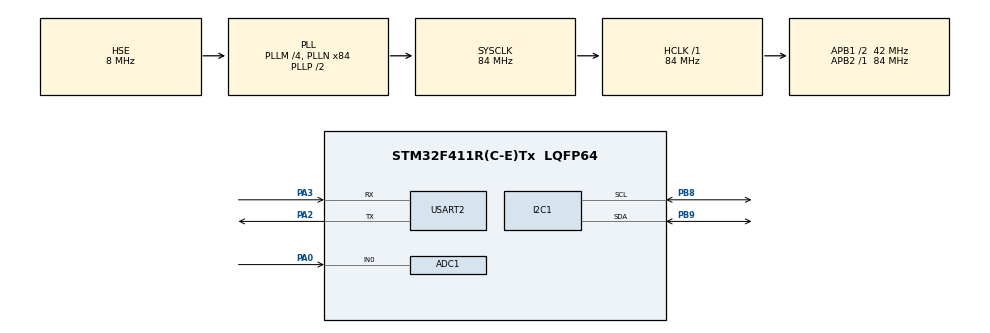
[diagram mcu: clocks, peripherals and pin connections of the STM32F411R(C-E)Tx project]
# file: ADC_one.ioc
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ADC1.Channel-1\#ChannelRegularConversion=ADC_CHANNEL_0
ADC1.NbrOfConversionFlag=1
ADC1.Rank-1\#ChannelRegularConversion=1
ADC1.SamplingTime-1\#ChannelRegularConversion=ADC_SAMPLETIME_3CYCLES
ADC1.master=1
Mcu.Family=STM32F4
Mcu.Name=STM32F411R(C-E)Tx
Mcu.Package=LQFP64
NVIC.PriorityGroup=NVIC_PRIORITYGROUP_4
PA0-WKUP.Signal=ADCx_IN0
PA13.Mode=Serial_Wire
PA13.Signal=SYS_JTMS-SWDIO
PA14.Mode=Serial_Wire
PA14.Signal=SYS_JTCK-SWCLK
PA2.Mode=Asynchronous
PA2.Signal=USART2_TX
PA3.Mode=Asynchronous
PA3.Signal=USART2_RX
PB8.Mode=I2C
PB8.Signal=I2C1_SCL
PB9.Mode=I2C
PB9.Signal=I2C1_SDA
PH0\ -\ OSC_IN.Mode=HSE-External-Oscillator
PH0\ -\ OSC_IN.Signal=RCC_OSC_IN
PH1\ -\ OSC_OUT.Mode=HSE-External-Oscillator
PH1\ -\ OSC_OUT.Signal=RCC_OSC_OUT
ProjectManager.HeapSize=0x200
ProjectManager.StackSize=0x400
ProjectManager.TargetToolchain=STM32CubeIDE
RCC.48MHZClocksFreq_Value=42000000
RCC.AHBFreq_Value=84000000
RCC.APB1CLKDivider=RCC_HCLK_DIV2
RCC.APB1Freq_Value=42000000
RCC.APB1TimFreq_Value=84000000
RCC.APB2Freq_Value=84000000
RCC.APB2TimFreq_Value=84000000
RCC.CortexFreq_Value=84000000
RCC.HCLKFreq_Value=84000000
RCC.HSE_VALUE=8000000
RCC.HSI_VALUE=16000000
RCC.LSE_VALUE=32768
RCC.PLLM=4
RCC.PLLN=84
RCC.PLLSourceVirtual=RCC_PLLSOURCE_HSE
RCC.SYSCLKFreq_VALUE=84000000
RCC.SYSCLKSource=RCC_SYSCLKSOURCE_PLLCLK
RCC.VCOOutputFreq_Value=168000000
SH.ADCx_IN0.0=ADC1_IN0,IN0
USART2.VirtualMode=VM_ASYNC
board=custom

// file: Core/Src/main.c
/* USER CODE BEGIN Header */
/**
  ******************************************************************************
  * @file           : main.c
  * @brief          : Main program body
  ******************************************************************************
  * @attention
  *
  * Copyright (c) 2024 STMicroelectronics.
  * All rights reserved.
  *
  * This software is licensed under terms that can be found in the LICENSE file
  * in the root directory of this software component.
  * If no LICENSE file comes with this software, it is provided AS-IS.
  *
  ******************************************************************************
  */
/* USER CODE END Header */
#include "main.h"

/* USER CODE BEGIN Includes */
#include "string.h"
#include "stdio.h"
#include "i2c-lcd.h"

char firstMes[] = "Voltage is";
char volt[15]={0};
/* USER CODE END Includes */

ADC_HandleTypeDef hadc1;

I2C_HandleTypeDef hi2c1;

UART_HandleTypeDef huart2;

void SystemClock_Config(void);
static void MX_GPIO_Init(void);
static void MX_ADC1_Init(void);
static void MX_USART2_UART_Init(void);
static void MX_I2C1_Init(void);
/* USER CODE BEGIN PFP */

void uprintf(char *str)
{
	HAL_UART_Transmit(&huart2, (uint8_t*) str, strlen(str), 100);
}
/* USER CODE END PFP */

/* USER CODE BEGIN 0 */
int row = 0;
int col = 0;

/* USER CODE END 0 */

int main(void)
{

  /* MCU Configuration--------------------------------------------------------*/

  /* Reset of all peripherals, Initializes the Flash interface and the Systick. */
  HAL_Init();

  /* Configure the system clock */
  SystemClock_Config();

  /* Initialize all configured peripherals */
  MX_GPIO_Init();
  MX_ADC1_Init();
  MX_USART2_UART_Init();
  MX_I2C1_Init();
  /* USER CODE BEGIN 2 */
  uint16_t result = 0;
  float V = 0;
  uint16_t measurement = 0;
  lcd_init();
  /* USER CODE END 2 */

  /* Infinite loop */
  /* USER CODE BEGIN WHILE */
  while (1)
  {
	  HAL_ADC_Start(&hadc1);
	  HAL_ADC_PollForConversion(&hadc1, 100);
	  result = HAL_ADC_GetValue(&hadc1);
	  HAL_ADC_Stop(&hadc1);
	  V = ((float)result / (float)4095) * 3.3;
	  measurement++;

	  sprintf(volt, "%1.2f", V);
	  //strcpy(volt, buffer);
	  lcd_put_cur(0,0);
	  lcd_send_string(firstMes);
	  lcd_put_cur(1,0);
	  lcd_send_string(volt);

	  HAL_Delay(500);
    /* USER CODE END WHILE */

  }
}

void SystemClock_Config(void)
{
  RCC_OscInitTypeDef RCC_OscInitStruct = {0};
  RCC_ClkInitTypeDef RCC_ClkInitStruct = {0};

  /** Configure the main internal regulator output voltage
  */
  __HAL_RCC_PWR_CLK_ENABLE();
  __HAL_PWR_VOLTAGESCALING_CONFIG(PWR_REGULATOR_VOLTAGE_SCALE1);

  /** Initializes the RCC Oscillators according to the specified parameters
  * in the RCC_OscInitTypeDef structure.
  */
  RCC_OscInitStruct.OscillatorType = RCC_OSCILLATORTYPE_HSE;
  RCC_OscInitStruct.HSEState = RCC_HSE_ON;
  RCC_OscInitStruct.PLL.PLLState = RCC_PLL_ON;
  RCC_OscInitStruct.PLL.PLLSource = RCC_PLLSOURCE_HSE;
  RCC_OscInitStruct.PLL.PLLM = 4;
  RCC_OscInitStruct.PLL.PLLN = 84;
  RCC_OscInitStruct.PLL.PLLP = RCC_PLLP_DIV2;
  RCC_OscInitStruct.PLL.PLLQ = 4;
  if (HAL_RCC_OscConfig(&RCC_OscInitStruct) != HAL_OK)
  {
    Error_Handler();
  }

  /** Initializes the CPU, AHB and APB buses clocks
  */
  RCC_ClkInitStruct.ClockType = RCC_CLOCKTYPE_HCLK|RCC_CLOCKTYPE_SYSCLK
                              |RCC_CLOCKTYPE_PCLK1|RCC_CLOCKTYPE_PCLK2;
  RCC_ClkInitStruct.SYSCLKSource = RCC_SYSCLKSOURCE_PLLCLK;
  RCC_ClkInitStruct.AHBCLKDivider = RCC_SYSCLK_DIV1;
  RCC_ClkInitStruct.APB1CLKDivider = RCC_HCLK_DIV2;
  RCC_ClkInitStruct.APB2CLKDivider = RCC_HCLK_DIV1;

  if (HAL_RCC_ClockConfig(&RCC_ClkInitStruct, FLASH_LATENCY_2) != HAL_OK)
  {
    Error_Handler();
  }
}

static void MX_ADC1_Init(void)
{

  ADC_ChannelConfTypeDef sConfig = {0};

  /** Configure the global features of the ADC (Clock, Resolution, Data Alignment and number of conversion)
  */
  hadc1.Instance = ADC1;
  hadc1.Init.ClockPrescaler = ADC_CLOCK_SYNC_PCLK_DIV4;
  hadc1.Init.Resolution = ADC_RESOLUTION_12B;
  hadc1.Init.ScanConvMode = DISABLE;
  hadc1.Init.ContinuousConvMode = DISABLE;
  hadc1.Init.DiscontinuousConvMode = DISABLE;
  hadc1.Init.ExternalTrigConvEdge = ADC_EXTERNALTRIGCONVEDGE_NONE;
  hadc1.Init.ExternalTrigConv = ADC_SOFTWARE_START;
  hadc1.Init.DataAlign = ADC_DATAALIGN_RIGHT;
  hadc1.Init.NbrOfConversion = 1;
  hadc1.Init.DMAContinuousRequests = DISABLE;
  hadc1.Init.EOCSelection = ADC_EOC_SINGLE_CONV;
  if (HAL_ADC_Init(&hadc1) != HAL_OK)
  {
    Error_Handler();
  }

  /** Configure for the selected ADC regular channel its corresponding rank in the sequencer and its sample time.
  */
  sConfig.Channel = ADC_CHANNEL_0;
  sConfig.Rank = 1;
  sConfig.SamplingTime = ADC_SAMPLETIME_3CYCLES;
  if (HAL_ADC_ConfigChannel(&hadc1, &sConfig) != HAL_OK)
  {
    Error_Handler();
  }

}

static void MX_I2C1_Init(void)
{

  hi2c1.Instance = I2C1;
  hi2c1.Init.ClockSpeed = 100000;
  hi2c1.Init.DutyCycle = I2C_DUTYCYCLE_2;
  hi2c1.Init.OwnAddress1 = 0;
  hi2c1.Init.AddressingMode = I2C_ADDRESSINGMODE_7BIT;
  hi2c1.Init.DualAddressMode = I2C_DUALADDRESS_DISABLE;
  hi2c1.Init.OwnAddress2 = 0;
  hi2c1.Init.GeneralCallMode = I2C_GENERALCALL_DISABLE;
  hi2c1.Init.NoStretchMode = I2C_NOSTRETCH_DISABLE;
  if (HAL_I2C_Init(&hi2c1) != HAL_OK)
  {
    Error_Handler();
  }

}

static void MX_USART2_UART_Init(void)
{

  huart2.Instance = USART2;
  huart2.Init.BaudRate = 115200;
  huart2.Init.WordLength = UART_WORDLENGTH_8B;
  huart2.Init.StopBits = UART_STOPBITS_1;
  huart2.Init.Parity = UART_PARITY_NONE;
  huart2.Init.Mode = UART_MODE_TX_RX;
  huart2.Init.HwFlowCtl = UART_HWCONTROL_NONE;
  huart2.Init.OverSampling = UART_OVERSAMPLING_16;
  if (HAL_UART_Init(&huart2) != HAL_OK)
  {
    Error_Handler();
  }

}

static void MX_GPIO_Init(void)
{

  /* GPIO Ports Clock Enable */
  __HAL_RCC_GPIOH_CLK_ENABLE();
  __HAL_RCC_GPIOA_CLK_ENABLE();
  __HAL_RCC_GPIOB_CLK_ENABLE();

}

void Error_Handler(void)
{
  __disable_irq();
  while (1)
  {
  }
}
